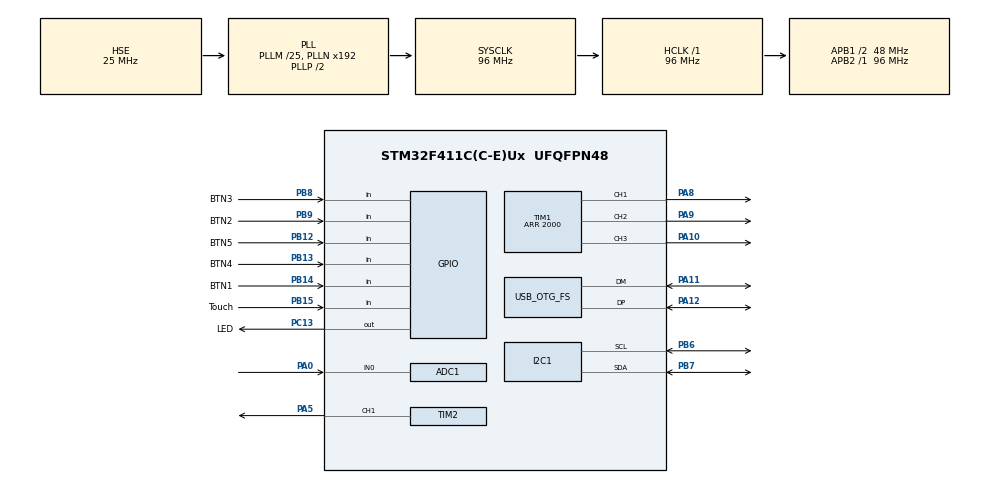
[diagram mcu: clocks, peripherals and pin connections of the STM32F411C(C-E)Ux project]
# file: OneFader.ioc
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ADC1.Channel-0\#ChannelRegularConversion=ADC_CHANNEL_0
ADC1.ContinuousConvMode=ENABLE
ADC1.DMAContinuousRequests=ENABLE
ADC1.NbrOfConversionFlag=1
ADC1.Rank-0\#ChannelRegularConversion=1
ADC1.SamplingTime-0\#ChannelRegularConversion=ADC_SAMPLETIME_144CYCLES
ADC1.master=1
Dma.ADC1.0.Direction=DMA_PERIPH_TO_MEMORY
Dma.ADC1.0.FIFOMode=DMA_FIFOMODE_DISABLE
Dma.ADC1.0.Instance=DMA2_Stream0
Dma.ADC1.0.MemDataAlignment=DMA_MDATAALIGN_HALFWORD
Dma.ADC1.0.MemInc=DMA_MINC_ENABLE
Dma.ADC1.0.Mode=DMA_CIRCULAR
Dma.ADC1.0.PeriphDataAlignment=DMA_PDATAALIGN_HALFWORD
Dma.ADC1.0.PeriphInc=DMA_PINC_DISABLE
Dma.ADC1.0.Priority=DMA_PRIORITY_LOW
Dma.Request0=ADC1
I2C1.I2C_Mode=I2C_Fast
Mcu.Family=STM32F4
Mcu.Name=STM32F411C(C-E)Ux
Mcu.Package=UFQFPN48
NVIC.DMA2_Stream0_IRQn=true\:0\:0\:false\:false\:true\:false\:true\:true
NVIC.OTG_FS_IRQn=true\:0\:0\:false\:false\:true\:false\:true\:true
NVIC.PriorityGroup=NVIC_PRIORITYGROUP_4
NVIC.TIM1_UP_TIM10_IRQn=true\:0\:0\:false\:false\:true\:true\:true\:true
NVIC.TIM2_IRQn=true\:0\:0\:false\:false\:true\:true\:true\:true
PA0-WKUP.Signal=ADCx_IN0
PA10.Signal=S_TIM1_CH3
PA11.Mode=Device_Only
PA11.Signal=USB_OTG_FS_DM
PA12.Mode=Device_Only
PA12.Signal=USB_OTG_FS_DP
PA5.Signal=S_TIM2_CH1_ETR
PA8.Signal=S_TIM1_CH1
PA9.Signal=S_TIM1_CH2
PB12.GPIO_Label=BTN5
PB12.GPIO_PuPd=GPIO_PULLUP
PB12.Signal=GPIO_Input
PB13.GPIO_Label=BTN4
PB13.GPIO_PuPd=GPIO_PULLUP
PB13.Signal=GPIO_Input
PB14.GPIO_Label=BTN1
PB14.GPIO_PuPd=GPIO_PULLUP
PB14.Signal=GPIO_Input
PB15.GPIO_Label=Touch
PB15.Signal=GPIO_Input
PB6.Mode=I2C
PB6.Signal=I2C1_SCL
PB7.Mode=I2C
PB7.Signal=I2C1_SDA
PB8.GPIO_Label=BTN3
PB8.GPIO_PuPd=GPIO_PULLUP
PB8.Signal=GPIO_Input
PB9.GPIO_Label=BTN2
PB9.GPIO_PuPd=GPIO_PULLUP
PB9.Signal=GPIO_Input
PC13-ANTI_TAMP.GPIO_Label=LED
PC13-ANTI_TAMP.Signal=GPIO_Output
PH0\ -\ OSC_IN.Mode=HSE-External-Oscillator
PH0\ -\ OSC_IN.Signal=RCC_OSC_IN
PH1\ -\ OSC_OUT.Mode=HSE-External-Oscillator
PH1\ -\ OSC_OUT.Signal=RCC_OSC_OUT
ProjectManager.HeapSize=0x200
ProjectManager.StackSize=0x400
ProjectManager.TargetToolchain=STM32CubeIDE
RCC.48MHZClocksFreq_Value=48000000
RCC.AHBFreq_Value=96000000
RCC.APB1CLKDivider=RCC_HCLK_DIV2
RCC.APB1Freq_Value=48000000
RCC.APB1TimFreq_Value=96000000
RCC.APB2Freq_Value=96000000
RCC.APB2TimFreq_Value=96000000
RCC.CortexFreq_Value=96000000
RCC.HCLKFreq_Value=96000000
RCC.HSE_VALUE=25000000
RCC.HSI_VALUE=16000000
RCC.LSE_VALUE=32768
RCC.PLLM=25
RCC.SYSCLKFreq_VALUE=96000000
RCC.SYSCLKSource=RCC_SYSCLKSOURCE_PLLCLK
RCC.VCOOutputFreq_Value=192000000
SH.ADCx_IN0.0=ADC1_IN0,IN0
SH.S_TIM1_CH1.0=TIM1_CH1,PWM Generation1 CH1
SH.S_TIM1_CH2.0=TIM1_CH2,PWM Generation2 CH2
SH.S_TIM1_CH3.0=TIM1_CH3,PWM Generation3 CH3
SH.S_TIM2_CH1_ETR.0=TIM2_CH1,PWM Generation1 CH1
TIM1.Channel-PWM\ Generation1\ CH1=TIM_CHANNEL_1
TIM1.Channel-PWM\ Generation2\ CH2=TIM_CHANNEL_2
TIM1.Channel-PWM\ Generation3\ CH3=TIM_CHANNEL_3
TIM1.OCFastMode_PWM-PWM\ Generation1\ CH1=TIM_OCFAST_ENABLE
TIM1.OCFastMode_PWM-PWM\ Generation2\ CH2=TIM_OCFAST_ENABLE
TIM1.OCFastMode_PWM-PWM\ Generation3\ CH3=TIM_OCFAST_ENABLE
TIM1.Period=2000
TIM1.Pulse-PWM\ Generation1\ CH1=1000
TIM1.Pulse-PWM\ Generation2\ CH2=1000
TIM1.Pulse-PWM\ Generation3\ CH3=1000
TIM2.Channel-PWM\ Generation1\ CH1=TIM_CHANNEL_1
TIM2.OCFastMode_PWM-PWM\ Generation1\ CH1=TIM_OCFAST_ENABLE
TIM2.OCPolarity_1=TIM_OCPOLARITY_LOW
TIM2.Period=9600000
TIM2.Pulse-PWM\ Generation1\ CH1=480000
USB_DEVICE.CLASS_NAME_FS=CDC
USB_DEVICE.VirtualMode=Cdc
USB_DEVICE.VirtualModeFS=Cdc_FS
USB_OTG_FS.VirtualMode=Device_Only
VP_TIM2_VS_ClockSourceINT.Mode=Internal
VP_USB_DEVICE_VS_USB_DEVICE_CDC_FS.Mode=CDC_FS
board=custom

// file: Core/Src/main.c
/* USER CODE BEGIN Header */
/**
  ******************************************************************************
  * @file           : main.c
  * @brief          : Main program body
  ******************************************************************************
  * @attention
  *
  * <h2><center>&copy; Copyright (c) 2021 STMicroelectronics.
  * All rights reserved.</center></h2>
  *
  * This software component is licensed by ST under BSD 3-Clause license,
  * the "License"; You may not use this file except in compliance with the
  * License. You may obtain a copy of the License at:
  *                        opensource.org/licenses/BSD-3-Clause
  *
  ******************************************************************************
  */
/* USER CODE END Header */
#include "main.h"

/* USER CODE BEGIN Includes */
#include <string.h>
#include "USB/usb_device.h"
#include "USB/usbd_midi_if.h"
#include "protocol.h"
#include "behavior.h"
#include "Display/ssd1306.h"
#include "display.h"
#include "motor.h"
/* USER CODE END Includes */

ADC_HandleTypeDef hadc1;
DMA_HandleTypeDef hdma_adc1;

I2C_HandleTypeDef hi2c1;

TIM_HandleTypeDef htim1;
TIM_HandleTypeDef htim2;

/* USER CODE BEGIN PV */
uint16_t ADC_Buf[ADC_BUF_LEN];
uint8_t ADC_Half = 0;
uint8_t ADC_Complete = 0;
uint8_t Debounce[DEBOUNCE_INPUTS];
uint8_t touch_state = 1;
/* USER CODE END PV */

void SystemClock_Config(void);
static void MX_GPIO_Init(void);
static void MX_DMA_Init(void);
static void MX_ADC1_Init(void);
static void MX_I2C1_Init(void);
static void MX_TIM1_Init(void);
static void MX_TIM2_Init(void);

int main(void)
{

  /* MCU Configuration--------------------------------------------------------*/

  /* Reset of all peripherals, Initializes the Flash interface and the Systick. */
  HAL_Init();

  /* Configure the system clock */
  SystemClock_Config();

  /* Initialize all configured peripherals */
  MX_GPIO_Init();
  MX_DMA_Init();
  MX_USB_DEVICE_Init();
  MX_ADC1_Init();
  MX_I2C1_Init();
  MX_TIM1_Init();
  MX_TIM2_Init();
  /* USER CODE BEGIN 2 */
  ssd1306_Init();
  HAL_ADC_Start_DMA(&hadc1, (uint32_t*) ADC_Buf, ADC_BUF_LEN);
  HAL_TIM_PWM_Start(&htim1, TIM_CHANNEL_1);
  HAL_TIM_PWM_Start(&htim1, TIM_CHANNEL_2);
  HAL_TIM_PWM_Start(&htim1, TIM_CHANNEL_3);
  __HAL_TIM_SET_COMPARE(&htim1, TIM_CHANNEL_2, TOUCH_SENSITIVITY);
  HAL_TIM_PWM_Start(&htim2, TIM_CHANNEL_1);
  /* USER CODE END 2 */

  /* Infinite loop */
  /* USER CODE BEGIN WHILE */
  while (1)
  {
	  Display_Frame();
	  Behavior();

    /* USER CODE END WHILE */

  }
}

void SystemClock_Config(void)
{
  RCC_OscInitTypeDef RCC_OscInitStruct = {0};
  RCC_ClkInitTypeDef RCC_ClkInitStruct = {0};

  /** Configure the main internal regulator output voltage
  */
  __HAL_RCC_PWR_CLK_ENABLE();
  __HAL_PWR_VOLTAGESCALING_CONFIG(PWR_REGULATOR_VOLTAGE_SCALE1);

  /** Initializes the RCC Oscillators according to the specified parameters
  * in the RCC_OscInitTypeDef structure.
  */
  RCC_OscInitStruct.OscillatorType = RCC_OSCILLATORTYPE_HSE;
  RCC_OscInitStruct.HSEState = RCC_HSE_ON;
  RCC_OscInitStruct.PLL.PLLState = RCC_PLL_ON;
  RCC_OscInitStruct.PLL.PLLSource = RCC_PLLSOURCE_HSE;
  RCC_OscInitStruct.PLL.PLLM = 25;
  RCC_OscInitStruct.PLL.PLLN = 192;
  RCC_OscInitStruct.PLL.PLLP = RCC_PLLP_DIV2;
  RCC_OscInitStruct.PLL.PLLQ = 4;
  if (HAL_RCC_OscConfig(&RCC_OscInitStruct) != HAL_OK)
  {
    Error_Handler();
  }

  /** Initializes the CPU, AHB and APB buses clocks
  */
  RCC_ClkInitStruct.ClockType = RCC_CLOCKTYPE_HCLK|RCC_CLOCKTYPE_SYSCLK
                              |RCC_CLOCKTYPE_PCLK1|RCC_CLOCKTYPE_PCLK2;
  RCC_ClkInitStruct.SYSCLKSource = RCC_SYSCLKSOURCE_PLLCLK;
  RCC_ClkInitStruct.AHBCLKDivider = RCC_SYSCLK_DIV1;
  RCC_ClkInitStruct.APB1CLKDivider = RCC_HCLK_DIV2;
  RCC_ClkInitStruct.APB2CLKDivider = RCC_HCLK_DIV1;

  if (HAL_RCC_ClockConfig(&RCC_ClkInitStruct, FLASH_LATENCY_3) != HAL_OK)
  {
    Error_Handler();
  }
}

static void MX_ADC1_Init(void)
{

  ADC_ChannelConfTypeDef sConfig = {0};

  /** Configure the global features of the ADC (Clock, Resolution, Data Alignment and number of conversion)
  */
  hadc1.Instance = ADC1;
  hadc1.Init.ClockPrescaler = ADC_CLOCK_SYNC_PCLK_DIV4;
  hadc1.Init.Resolution = ADC_RESOLUTION_12B;
  hadc1.Init.ScanConvMode = DISABLE;
  hadc1.Init.ContinuousConvMode = ENABLE;
  hadc1.Init.DiscontinuousConvMode = DISABLE;
  hadc1.Init.ExternalTrigConvEdge = ADC_EXTERNALTRIGCONVEDGE_NONE;
  hadc1.Init.ExternalTrigConv = ADC_SOFTWARE_START;
  hadc1.Init.DataAlign = ADC_DATAALIGN_RIGHT;
  hadc1.Init.NbrOfConversion = 1;
  hadc1.Init.DMAContinuousRequests = ENABLE;
  hadc1.Init.EOCSelection = ADC_EOC_SINGLE_CONV;
  if (HAL_ADC_Init(&hadc1) != HAL_OK)
  {
    Error_Handler();
  }

  /** Configure for the selected ADC regular channel its corresponding rank in the sequencer and its sample time.
  */
  sConfig.Channel = ADC_CHANNEL_0;
  sConfig.Rank = 1;
  sConfig.SamplingTime = ADC_SAMPLETIME_144CYCLES;
  if (HAL_ADC_ConfigChannel(&hadc1, &sConfig) != HAL_OK)
  {
    Error_Handler();
  }

}

static void MX_I2C1_Init(void)
{

  hi2c1.Instance = I2C1;
  hi2c1.Init.ClockSpeed = 400000;
  hi2c1.Init.DutyCycle = I2C_DUTYCYCLE_2;
  hi2c1.Init.OwnAddress1 = 0;
  hi2c1.Init.AddressingMode = I2C_ADDRESSINGMODE_7BIT;
  hi2c1.Init.DualAddressMode = I2C_DUALADDRESS_DISABLE;
  hi2c1.Init.OwnAddress2 = 0;
  hi2c1.Init.GeneralCallMode = I2C_GENERALCALL_DISABLE;
  hi2c1.Init.NoStretchMode = I2C_NOSTRETCH_DISABLE;
  if (HAL_I2C_Init(&hi2c1) != HAL_OK)
  {
    Error_Handler();
  }

}

static void MX_TIM1_Init(void)
{

  TIM_MasterConfigTypeDef sMasterConfig = {0};
  TIM_OC_InitTypeDef sConfigOC = {0};
  TIM_BreakDeadTimeConfigTypeDef sBreakDeadTimeConfig = {0};

  htim1.Instance = TIM1;
  htim1.Init.Prescaler = 0;
  htim1.Init.CounterMode = TIM_COUNTERMODE_UP;
  htim1.Init.Period = 2000;
  htim1.Init.ClockDivision = TIM_CLOCKDIVISION_DIV1;
  htim1.Init.RepetitionCounter = 0;
  htim1.Init.AutoReloadPreload = TIM_AUTORELOAD_PRELOAD_DISABLE;
  if (HAL_TIM_PWM_Init(&htim1) != HAL_OK)
  {
    Error_Handler();
  }
  sMasterConfig.MasterOutputTrigger = TIM_TRGO_RESET;
  sMasterConfig.MasterSlaveMode = TIM_MASTERSLAVEMODE_DISABLE;
  if (HAL_TIMEx_MasterConfigSynchronization(&htim1, &sMasterConfig) != HAL_OK)
  {
    Error_Handler();
  }
  sConfigOC.OCMode = TIM_OCMODE_PWM1;
  sConfigOC.Pulse = 1000;
  sConfigOC.OCPolarity = TIM_OCPOLARITY_HIGH;
  sConfigOC.OCNPolarity = TIM_OCNPOLARITY_HIGH;
  sConfigOC.OCFastMode = TIM_OCFAST_ENABLE;
  sConfigOC.OCIdleState = TIM_OCIDLESTATE_RESET;
  sConfigOC.OCNIdleState = TIM_OCNIDLESTATE_RESET;
  if (HAL_TIM_PWM_ConfigChannel(&htim1, &sConfigOC, TIM_CHANNEL_1) != HAL_OK)
  {
    Error_Handler();
  }
  if (HAL_TIM_PWM_ConfigChannel(&htim1, &sConfigOC, TIM_CHANNEL_2) != HAL_OK)
  {
    Error_Handler();
  }
  if (HAL_TIM_PWM_ConfigChannel(&htim1, &sConfigOC, TIM_CHANNEL_3) != HAL_OK)
  {
    Error_Handler();
  }
  sBreakDeadTimeConfig.OffStateRunMode = TIM_OSSR_DISABLE;
  sBreakDeadTimeConfig.OffStateIDLEMode = TIM_OSSI_DISABLE;
  sBreakDeadTimeConfig.LockLevel = TIM_LOCKLEVEL_OFF;
  sBreakDeadTimeConfig.DeadTime = 0;
  sBreakDeadTimeConfig.BreakState = TIM_BREAK_DISABLE;
  sBreakDeadTimeConfig.BreakPolarity = TIM_BREAKPOLARITY_HIGH;
  sBreakDeadTimeConfig.AutomaticOutput = TIM_AUTOMATICOUTPUT_DISABLE;
  if (HAL_TIMEx_ConfigBreakDeadTime(&htim1, &sBreakDeadTimeConfig) != HAL_OK)
  {
    Error_Handler();
  }
  HAL_TIM_MspPostInit(&htim1);

}

static void MX_TIM2_Init(void)
{

  TIM_ClockConfigTypeDef sClockSourceConfig = {0};
  TIM_MasterConfigTypeDef sMasterConfig = {0};
  TIM_OC_InitTypeDef sConfigOC = {0};

  htim2.Instance = TIM2;
  htim2.Init.Prescaler = 0;
  htim2.Init.CounterMode = TIM_COUNTERMODE_UP;
  htim2.Init.Period = 9600000;
  htim2.Init.ClockDivision = TIM_CLOCKDIVISION_DIV1;
  htim2.Init.AutoReloadPreload = TIM_AUTORELOAD_PRELOAD_DISABLE;
  if (HAL_TIM_Base_Init(&htim2) != HAL_OK)
  {
    Error_Handler();
  }
  sClockSourceConfig.ClockSource = TIM_CLOCKSOURCE_INTERNAL;
  if (HAL_TIM_ConfigClockSource(&htim2, &sClockSourceConfig) != HAL_OK)
  {
    Error_Handler();
  }
  if (HAL_TIM_PWM_Init(&htim2) != HAL_OK)
  {
    Error_Handler();
  }
  sMasterConfig.MasterOutputTrigger = TIM_TRGO_RESET;
  sMasterConfig.MasterSlaveMode = TIM_MASTERSLAVEMODE_DISABLE;
  if (HAL_TIMEx_MasterConfigSynchronization(&htim2, &sMasterConfig) != HAL_OK)
  {
    Error_Handler();
  }
  sConfigOC.OCMode = TIM_OCMODE_PWM1;
  sConfigOC.Pulse = 480000;
  sConfigOC.OCPolarity = TIM_OCPOLARITY_LOW;
  sConfigOC.OCFastMode = TIM_OCFAST_ENABLE;
  if (HAL_TIM_PWM_ConfigChannel(&htim2, &sConfigOC, TIM_CHANNEL_1) != HAL_OK)
  {
    Error_Handler();
  }
  HAL_TIM_MspPostInit(&htim2);

}

static void MX_DMA_Init(void)
{

  /* DMA controller clock enable */
  __HAL_RCC_DMA2_CLK_ENABLE();

  /* DMA interrupt init */
  /* DMA2_Stream0_IRQn interrupt configuration */
  HAL_NVIC_SetPriority(DMA2_Stream0_IRQn, 0, 0);
  HAL_NVIC_EnableIRQ(DMA2_Stream0_IRQn);

}

static void MX_GPIO_Init(void)
{
  GPIO_InitTypeDef GPIO_InitStruct = {0};

  /* GPIO Ports Clock Enable */
  __HAL_RCC_GPIOC_CLK_ENABLE();
  __HAL_RCC_GPIOH_CLK_ENABLE();
  __HAL_RCC_GPIOA_CLK_ENABLE();
  __HAL_RCC_GPIOB_CLK_ENABLE();

  /*Configure GPIO pin Output Level */
  HAL_GPIO_WritePin(LED_GPIO_Port, LED_Pin, GPIO_PIN_RESET);

  /*Configure GPIO pin : LED_Pin */
  GPIO_InitStruct.Pin = LED_Pin;
  GPIO_InitStruct.Mode = GPIO_MODE_OUTPUT_PP;
  GPIO_InitStruct.Pull = GPIO_NOPULL;
  GPIO_InitStruct.Speed = GPIO_SPEED_FREQ_LOW;
  HAL_GPIO_Init(LED_GPIO_Port, &GPIO_InitStruct);

  /*Configure GPIO pins : BTN5_Pin BTN4_Pin BTN1_Pin BTN3_Pin
                           BTN2_Pin */
  GPIO_InitStruct.Pin = BTN5_Pin|BTN4_Pin|BTN1_Pin|BTN3_Pin
                          |BTN2_Pin;
  GPIO_InitStruct.Mode = GPIO_MODE_INPUT;
  GPIO_InitStruct.Pull = GPIO_PULLUP;
  HAL_GPIO_Init(GPIOB, &GPIO_InitStruct);

  /*Configure GPIO pin : Touch_Pin */
  GPIO_InitStruct.Pin = Touch_Pin;
  GPIO_InitStruct.Mode = GPIO_MODE_INPUT;
  GPIO_InitStruct.Pull = GPIO_NOPULL;
  HAL_GPIO_Init(Touch_GPIO_Port, &GPIO_InitStruct);

}

/* USER CODE BEGIN 4 */
//Goes into Systick_Handler in stm32f4xx_it.c
void Debounce_Sequence(void)
{
	uint8_t input[DEBOUNCE_INPUTS] = {
										HAL_GPIO_ReadPin(Touch_GPIO_Port, Touch_Pin),
										HAL_GPIO_ReadPin(BTN1_GPIO_Port, BTN1_Pin),
										HAL_GPIO_ReadPin(BTN2_GPIO_Port, BTN2_Pin),
										HAL_GPIO_ReadPin(BTN3_GPIO_Port, BTN3_Pin),
										HAL_GPIO_ReadPin(BTN4_GPIO_Port, BTN4_Pin),
										HAL_GPIO_ReadPin(BTN5_GPIO_Port, BTN5_Pin)};

	static uint8_t count_0[DEBOUNCE_INPUTS];
	static uint8_t count_1[DEBOUNCE_INPUTS];

	for (uint8_t i = 0; i < DEBOUNCE_INPUTS; i++)
	{
		if (input[i] == GPIO_PIN_RESET)
		{
			count_0[i]++;
			count_1[i] = 0;

			if(count_0[i] >= DEBOUNCE_MS)
			{
				Debounce[i] = 0;
			}
		}

		else
		{
			count_1[i]++;
			count_0[i] = 0;

			if(count_1[i] >= DEBOUNCE_MS)
			{
				Debounce[i] = 1;
			}
		}
	}
}

void HAL_ADC_ConvHalfCpltCallback(ADC_HandleTypeDef* hadc)
{
	ADC_Half = 1;
}

void HAL_ADC_ConvCpltCallback(ADC_HandleTypeDef* hadc)
{
	ADC_Complete = 1;
}

void HAL_TIM_PeriodElapsedCallback(TIM_HandleTypeDef* htim)
{
	if(htim == &htim2)
	{

	}
}

/* USER CODE END 4 */

void Error_Handler(void)
{
  __disable_irq();
  while (1)
  {
  }
}
